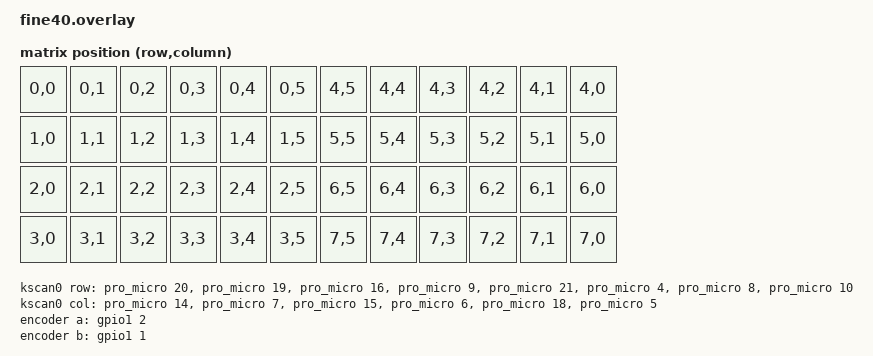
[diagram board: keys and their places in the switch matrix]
#include <dt-bindings/zmk/matrix_transform.h>
#include <physical_layouts.dtsi>

/ {
    chosen {
        zmk,kscan = &kscan0;
        zmk,physical-layout = &fine40_layout0;
        zephyr,display = &oled;
    };

default_transform: keymap_transform_0 {
		compatible = "zmk,matrix-transform";
		columns = <6>;
		rows = <8>;
		map = <
			RC(0,0) RC(0,1) RC(0,2) RC(0,3) RC(0,4) RC(0,5) RC(4,5) RC(4,4) RC(4,3) RC(4,2) RC(4,1) RC(4,0)
			RC(1,0) RC(1,1) RC(1,2) RC(1,3) RC(1,4) RC(1,5) RC(5,5) RC(5,4) RC(5,3) RC(5,2) RC(5,1) RC(5,0)
			RC(2,0) RC(2,1) RC(2,2) RC(2,3) RC(2,4) RC(2,5) RC(6,5) RC(6,4) RC(6,3) RC(6,2) RC(6,1) RC(6,0)
			RC(3,0) RC(3,1) RC(3,2) RC(3,3) RC(3,4) RC(3,5) RC(7,5) RC(7,4) RC(7,3) RC(7,2) RC(7,1) RC(7,0)
		>;
	};

    kscan0: kscan_0 {
        compatible = "zmk,kscan-gpio-matrix";
        label = "KSCAN";
        diode-direction = "col2row";

        col-gpios
            = <&pro_micro 14 GPIO_ACTIVE_HIGH>
            , <&pro_micro 7 GPIO_ACTIVE_HIGH>
            , <&pro_micro 15 GPIO_ACTIVE_HIGH>
			, <&pro_micro 6 GPIO_ACTIVE_HIGH>
			, <&pro_micro 18 GPIO_ACTIVE_HIGH>
			, <&pro_micro 5 GPIO_ACTIVE_HIGH>
            ;

        row-gpios
            = <&pro_micro 20 (GPIO_ACTIVE_HIGH | GPIO_PULL_DOWN)>
            , <&pro_micro 19 (GPIO_ACTIVE_HIGH | GPIO_PULL_DOWN)>
            , <&pro_micro 16 (GPIO_ACTIVE_HIGH | GPIO_PULL_DOWN)>
			, <&pro_micro 9 (GPIO_ACTIVE_HIGH | GPIO_PULL_DOWN)>
			, <&pro_micro 21 (GPIO_ACTIVE_HIGH | GPIO_PULL_DOWN)>
			, <&pro_micro 4 (GPIO_ACTIVE_HIGH | GPIO_PULL_DOWN)>
			, <&pro_micro 8 (GPIO_ACTIVE_HIGH | GPIO_PULL_DOWN)>
			, <&pro_micro 10 (GPIO_ACTIVE_HIGH | GPIO_PULL_DOWN)>
            ;
    };

    fine40_layout0: fine40_layout_0 {
        compatible = "zmk,physical-layout";
        display-name = "fine!40";

        transform = <&default_transform>;
        kscan = <&kscan0>;

        keys
            = <&key_physical_attrs 100 100    0    0   0    0   0>
            , <&key_physical_attrs 100 100  100    0   0    0   0>
            , <&key_physical_attrs 100 100  200    0   0    0   0>
            , <&key_physical_attrs 100 100  300    0   0    0   0>
            , <&key_physical_attrs 100 100  400    0   0    0   0>
            , <&key_physical_attrs 100 100  500    0   0    0   0>
            , <&key_physical_attrs 100 100  600    0   0    0   0>
            , <&key_physical_attrs 100 100  700    0   0    0   0>
            , <&key_physical_attrs 100 100  800    0   0    0   0>
            , <&key_physical_attrs 100 100  900    0   0    0   0>
            , <&key_physical_attrs 100 100 1000    0   0    0   0>
            , <&key_physical_attrs 100 100 1100    0   0    0   0>

            , <&key_physical_attrs 100 100    0  100   0    0   0>
            , <&key_physical_attrs 100 100  100  100   0    0   0>
            , <&key_physical_attrs 100 100  200  100   0    0   0>
            , <&key_physical_attrs 100 100  300  100   0    0   0>
            , <&key_physical_attrs 100 100  400  100   0    0   0>
            , <&key_physical_attrs 100 100  500  100   0    0   0>
            , <&key_physical_attrs 100 100  600  100   0    0   0>
            , <&key_physical_attrs 100 100  700  100   0    0   0>
            , <&key_physical_attrs 100 100  800  100   0    0   0>
            , <&key_physical_attrs 100 100  900  100   0    0   0>
            , <&key_physical_attrs 100 100 1000  100   0    0   0>
            , <&key_physical_attrs 100 100 1100  100   0    0   0>

            , <&key_physical_attrs 100 100    0  200   0    0   0>
            , <&key_physical_attrs 100 100  100  200   0    0   0>
            , <&key_physical_attrs 100 100  200  200   0    0   0>
            , <&key_physical_attrs 100 100  300  200   0    0   0>
            , <&key_physical_attrs 100 100  400  200   0    0   0>
            , <&key_physical_attrs 100 100  500  200   0    0   0>
            , <&key_physical_attrs 100 100  600  200   0    0   0>
            , <&key_physical_attrs 100 100  700  200   0    0   0>
            , <&key_physical_attrs 100 100  800  200   0    0   0>
            , <&key_physical_attrs 100 100  900  200   0    0   0>
            , <&key_physical_attrs 100 100 1000  200   0    0   0>
            , <&key_physical_attrs 100 100 1100  200   0    0   0>

            , <&key_physical_attrs 100 100    0  300   0    0   0>
            , <&key_physical_attrs 100 100  100  300   0    0   0>
            , <&key_physical_attrs 100 100  200  300   0    0   0>
            , <&key_physical_attrs 100 100  300  300   0    0   0>
            , <&key_physical_attrs 100 100  400  300   0    0   0>
            , <&key_physical_attrs 100 100  500  300   0    0   0>
            , <&key_physical_attrs 100 100  600  300   0    0   0>
            , <&key_physical_attrs 100 100  700  300   0    0   0>
            , <&key_physical_attrs 100 100  800  300   0    0   0>
            , <&key_physical_attrs 100 100  900  300   0    0   0>
            , <&key_physical_attrs 100 100 1000  300   0    0   0>
            , <&key_physical_attrs 100 100 1100  300   0    0   0>
            ;
    };

	encoder: encoder {
		compatible = "alps,ec11";
		label = "ENCODER";
		a-gpios = <&gpio1 2 (GPIO_ACTIVE_HIGH | GPIO_PULL_UP)>;
		b-gpios = <&gpio1 1 (GPIO_ACTIVE_HIGH | GPIO_PULL_UP)>;
		resolution = <4>;
		status = "okay";
	};

	sensors {
		compatible = "zmk,keymap-sensors";
		sensors = <&encoder>;
	};
	

};

&pro_micro_i2c {
	status = "okay";

	oled: ssd1306@3c {
		compatible = "solomon,ssd1306fb";
		reg = <0x3c>;
		label = "DISPLAY";
		width = <128>;
		height = <64>;
		segment-offset = <0>;
		page-offset = <0>;
		display-offset = <0>;
		multiplex-ratio = <63>;
		prechargep = <0x22>;
		inversion-on;
	};
};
